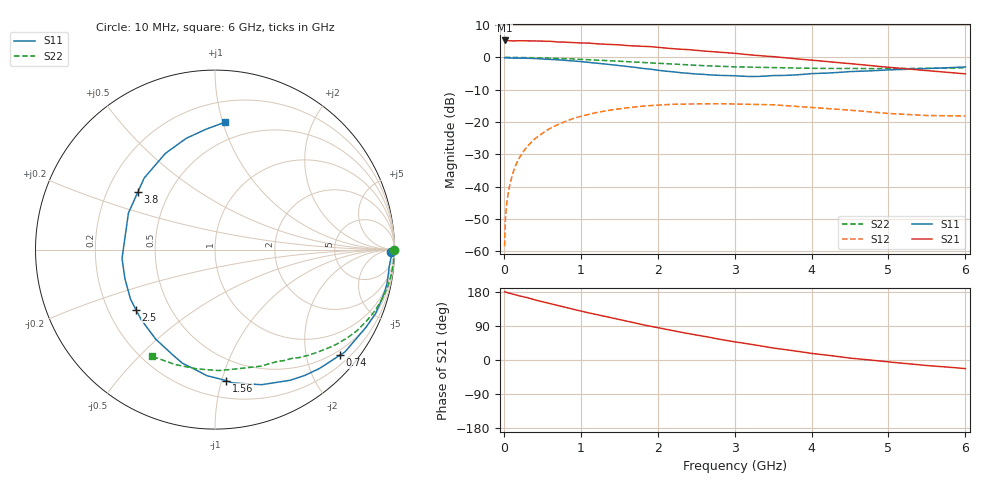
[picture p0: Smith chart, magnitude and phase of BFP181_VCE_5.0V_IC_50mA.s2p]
! (c) 2016  Infineon Technologies AG, Munich
! Infineon Technologies  Discrete & RF Semiconductors
! BFP181
! VCE = 5.0 V,  IC =  50 mA
! Common Emitter S-Parameters:  Jan 2016
# GHz  S  MA  R  50
!  f  S11  S21  S12  S22
! GHz  MAG  ANG  MAG  ANG  MAG  ANG  MAG  ANG
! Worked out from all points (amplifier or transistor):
!   210 points, 10 MHz to 6 GHz, reference 50 ohm
!   highest |S21| = 5.2 dB at 10 MHz (marker M1)
!   |S21| within 3 dB of that: start of sweep to 2.47 GHz
!   unconditionally stable (mu >= 1): 3.697 GHz to end of sweep
!   at 185 MHz: K = 0.07, MSG = 18.5 dB, |S12| = -31.8 dB
!   at 1.52 GHz: K = 0.45, MSG = 9.9 dB, |S12| = -15.9 dB
!   at 6 GHz: K = 1.42, MAG = 2.6 dB, |S12| = -18.1 dB
!   S11 on the Smith chart (normalised r, x): 10 MHz: 69, -53; 740 MHz: 0.39, -2.68; 1.56 GHz: 0.33, -1.03; 2.5 GHz: 0.32, -0.31; 3.8 GHz: 0.33, +0.30; 6 GHz: 0.35, +1.02
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0.01  0.982 -0.8  1.827 179.8  0.0012 82.2  0.9999 -0.2
0.015  0.984 -1.0  1.826 179.8  0.0021 82.1  0.9998 -0.3
0.02  0.986 -1.2  1.825 179.7  0.0031 82.1  0.9998 -0.5
0.035  0.9838 -1.8  1.821 178.6  0.0051 88.6  0.9989 -0.9
0.05  0.9817 -2.5  1.817 177.4  0.0071 91.5  0.998 -1.4
0.09  0.9764 -5.0  1.803 175.3  0.0123 84.9  0.9978 -2.4
0.16  0.9757 -8.8  1.8 171.6  0.0222 83.3  0.9963 -4.2
0.26  0.9735 -14.3  1.808 166.4  0.0357 80.1  0.9932 -7.0
0.4  0.9628 -21.7  1.796 158.9  0.0546 74.4  0.9876 -10.6
0.74  0.9111 -40.3  1.725 141.8  0.0953 61.4  0.96 -19.2
1.02  0.8562 -55.7  1.669 128.3  0.1243 51.4  0.9307 -25.7
1.3  0.796 -71.0  1.603 115.7  0.1471 41.9  0.8968 -32.0
1.56  0.7331 -85.2  1.539 104.1  0.1634 34.2  0.8637 -37.0
2.02  0.6286 -112.7  1.426 84.3  0.1834 21.9  0.8072 -45.1
2.5  0.553 -142.8  1.284 66.2  0.191 10.3  0.7537 -53.1
2.8  0.5274 -162.1  1.206 54.9  0.1924 4.0  0.7306 -57.7
3.1  0.5109 179.9  1.124 45.0  0.1887 -1.7  0.7092 -62.4
3.5  0.5237 157.1  1.028 31.6  0.1848 -8.3  0.6974 -68.7
3.8  0.5362 143.3  0.949 23.5  0.1747 -11.8  0.6834 -74.2
4.1  0.565 131.0  0.884 15.2  0.1651 -15.2  0.6752 -79.9
5.1  0.6452 102.3  0.686 -7.0  0.1337 -18.9  0.6714 -100.7
6  0.7112 85.6  0.556 -22.7  0.1239 -11.5  0.6898 -120.4
